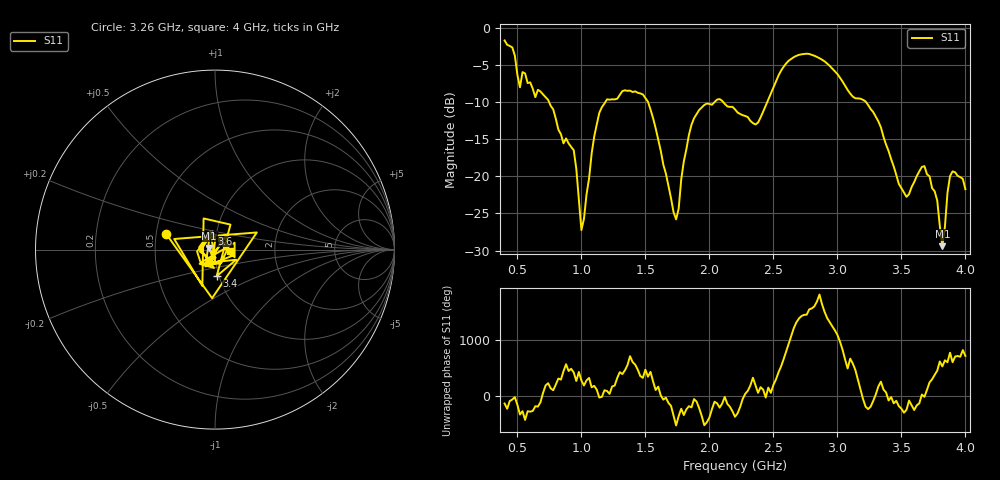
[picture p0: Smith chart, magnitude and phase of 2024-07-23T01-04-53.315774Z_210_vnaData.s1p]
!Created with skrf (http://scikit-rf.org).
# Hz S RI R 50.0
!freq ReS11 ImS11
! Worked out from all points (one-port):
!   181 points, 400 MHz to 4 GHz, reference 50 ohm
!   lowest |S11| = -29.4 dB at 3.82 GHz (marker M1), VSWR 1.07, Z = 46.8 + j0.829 ohm
!   |S11| at or under -10 dB: 747.8 MHz to 1.187 GHz (438.9 MHz wide, 45.4 % of centre); 1.521 GHz to 2.04 GHz (518.9 MHz wide, 29.1 % of centre); 3.224 GHz to end of sweep (the widest 3 of 4)
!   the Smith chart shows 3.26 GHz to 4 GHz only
!   S11 on the Smith chart (normalised r, x): 3.26 GHz: 0.57, +0.11; 3.4 GHz: 0.98, -0.29; 3.6 GHz: 0.95, +0.17; 4 GHz: 1.18, -0.02
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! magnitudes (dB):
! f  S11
! 400 MHz  -1.7
! 460 MHz  -2.6
! 520 MHz  -8.0
! 540 MHz  -5.9
! 740 MHz  -9.7
! 860 MHz  -15.6
! 940 MHz  -16.5
! 1 GHz  -27.2
! 1.14 GHz  -11.4
! 1.3 GHz  -9.0
! 1.52 GHz  -9.9
! 1.72 GHz  -24.8
! 1.76 GHz  -24.3
! 1.8 GHz  -18.0
! 1.88 GHz  -12.2
! 2.2 GHz  -11.0
! 2.38 GHz  -12.8
! 2.66 GHz  -3.9
! 3.1 GHz  -8.8
! 3.26 GHz  -10.9
! 3.4 GHz  -16.6
! 3.56 GHz  -22.4
! 3.6 GHz  -20.8
! 3.72 GHz  -20.0
! 3.78 GHz  -23.3
! 3.82 GHz  -29.4
! 3.88 GHz  -20.0
! 4 GHz  -21.7
